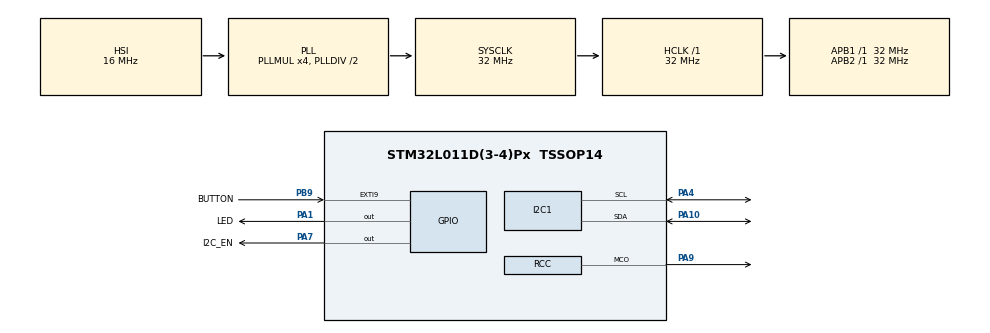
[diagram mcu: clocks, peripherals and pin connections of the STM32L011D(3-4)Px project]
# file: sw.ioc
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I2C1.I2C_Fall_Time=0
I2C1.I2C_Rise_Time=0
I2C1.Timing=0x00707CBB
Mcu.Family=STM32L0
Mcu.Name=STM32L011D(3-4)Px
Mcu.Package=TSSOP14
NVIC.EXTI4_15_IRQn=true\:0\:0\:false\:true\:true\:1\:true\:true
PA1.GPIO_Label=LED
PA1.Signal=GPIO_Output
PA10.Mode=I2C
PA10.Signal=I2C1_SDA
PA13.Mode=Serial_Wire
PA13.Signal=SYS_SWDIO
PA14.Mode=Serial_Wire
PA14.Signal=SYS_SWCLK
PA4.Mode=I2C
PA4.Signal=I2C1_SCL
PA7.GPIO_Label=I2C_EN
PA7.GPIO_PuPd=GPIO_PULLDOWN
PA7.Signal=GPIO_Output
PA9.Mode=Clock-out
PA9.Signal=RCC_MCO
PB9-BOOT0.GPIO_Label=BUTTON
PB9-BOOT0.Signal=GPXTI9
ProjectManager.HeapSize=0x200
ProjectManager.StackSize=0x400
ProjectManager.TargetToolchain=SW4STM32
RCC.AHBFreq_Value=32000000
RCC.APB1Freq_Value=32000000
RCC.APB1TimFreq_Value=32000000
RCC.APB2Freq_Value=32000000
RCC.APB2TimFreq_Value=32000000
RCC.HCLKFreq_Value=32000000
RCC.HSE_VALUE=8000000
RCC.HSI16_VALUE=16000000
RCC.HSI_VALUE=16000000
RCC.LSE_VALUE=32768
RCC.MSI_VALUE=2097000
RCC.PLLMUL=RCC_PLLMUL_4
RCC.SYSCLKFreq_VALUE=32000000
RCC.SYSCLKSource=RCC_SYSCLKSOURCE_PLLCLK
RCC.VCOOutputFreq_Value=64000000
board=custom

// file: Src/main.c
/* USER CODE BEGIN Header */
/**
  ******************************************************************************
  * @file           : main.c
  * @brief          : Main program body
  ******************************************************************************
  * @attention
  *
  * <h2><center>&copy; Copyright (c) 2020 STMicroelectronics.
  * All rights reserved.</center></h2>
  *
  * This software component is licensed by ST under BSD 3-Clause license,
  * the "License"; You may not use this file except in compliance with the
  * License. You may obtain a copy of the License at:
  *                        opensource.org/licenses/BSD-3-Clause
  *
  ******************************************************************************
  */
/* USER CODE END Header */
#include "main.h"

/* USER CODE BEGIN PD */
#define address 0b01111000

#define R 0
#define G 1
#define B 2

/* USER CODE END PD */

I2C_HandleTypeDef hi2c1;

void SystemClock_Config(void);
static void MX_GPIO_Init(void);
static void MX_I2C1_Init(void);
static void MX_NVIC_Init(void);
/* USER CODE BEGIN PFP */
void WRITE_I2C(uint8_t reg, uint8_t data);
void UPDATE_REGISTER(void);
void Init_FL3236A(void);
void LED(uint8_t LED, uint8_t color, uint8_t value);
void HAL_GPIO_EXTI_Callback(uint16_t GPIO_Pin);
void LED_MODE(uint8_t mode);
/* USER CODE END PFP */

/* USER CODE BEGIN 0 */

const uint8_t PWM_REG[12][3] = {{0x1,0x2,0x3},
						  {0x4,0x5,0x6},
						  {0x7,0x8,0x9},
						  {0xA,0xB,0xC},
						  {0xD,0xE,0xF},
						  {0x10,0x11,0x12},
						  {0x22,0x23,0x24},
						  {0x1F,0x20,0x21},
						  {0x1C,0x1D,0x1E},
						  {0x19,0x1A,0x1B},
						  {0x16,0x17,0x18},
						  {0x13,0x14,0x15}};

const uint8_t G_CONTROL_REG = 0x4A;
const uint8_t PWM_UPDATE_REG = 0x25;
const uint8_t SHUTDOWN_REG = 0x00;
const uint8_t RESET_REG = 0x4F;

volatile uint8_t state = 1;
/*const uint8_t SIN[180] = {0,1,2,4,5,7,8,10,11,13,14,15,16,18,19,20,21,22,23,24,25,26,27,27,28,28,28,29,29,29,29,29,29,28,28,28,27,27,26,25,24,23,22,21,20,19,18,16,15,14,13,11,10,8,7,5,4,2,1,0,
						  0,0,0,0,0,0,0,0,0,0,0,0,0,0,0,0,0,0,0,0,0,0,0,0,0,0,0,0,0,0,0,0,0,0,0,0,0,0,0,0,0,0,0,0,0,0,0,0,0,0,0,0,0,0,0,0,0,0,0,0,
						  0,0,0,0,0,0,0,0,0,0,0,0,0,0,0,0,0,0,0,0,0,0,0,0,0,0,0,0,0,0,0,0,0,0,0,0,0,0,0,0,0,0,0,0,0,0,0,0,0,0,0,0,0,0,0,0,0,0,0,0};
*/
const unsigned char SIN2[64] = { 0,0,0,1,2,4,5,7,8,10,11,13,14,15,16,18,19,20,21,22,23,24,25,26,27,27,28,28,28,29,29,29,29,29,29,28,28,28,27,27,26,25,24,23,22,21,20,19,18,16,15,14,13,11,10,8,7,5,4,2,1,0,0,0};
/* USER CODE END 0 */

int main(void)
{

  /* MCU Configuration--------------------------------------------------------*/

  /* Reset of all peripherals, Initializes the Flash interface and the Systick. */
  HAL_Init();

  /* Configure the system clock */
  SystemClock_Config();

  /* Initialize all configured peripherals */
  MX_GPIO_Init();
  MX_I2C1_Init();

  /* Initialize interrupts */
  MX_NVIC_Init();
  /* USER CODE BEGIN 2 */
  HAL_GPIO_WritePin(I2C_EN_GPIO_Port,I2C_EN_Pin, GPIO_PIN_SET);

  if(HAL_I2C_IsDeviceReady(&hi2c1, address, 2, 10) == HAL_OK)
  {
	HAL_GPIO_WritePin(LED_GPIO_Port,LED_Pin,GPIO_PIN_SET);
	HAL_Delay(200);
	HAL_GPIO_WritePin(LED_GPIO_Port,LED_Pin,GPIO_PIN_RESET);
  }
  else
  {
	HAL_GPIO_WritePin(LED_GPIO_Port,LED_Pin,GPIO_PIN_SET);
	HAL_Delay(200);
	HAL_GPIO_WritePin(LED_GPIO_Port,LED_Pin,GPIO_PIN_RESET);
	HAL_Delay(200);
	HAL_GPIO_WritePin(LED_GPIO_Port,LED_Pin,GPIO_PIN_SET);
	HAL_Delay(200);
	HAL_GPIO_WritePin(LED_GPIO_Port,LED_Pin,GPIO_PIN_RESET);
  }

  uint8_t counter = 0;
  uint8_t oldstate = 0;
 /* WRITE_I2C(PWM_REG[7][0],64); //LED8 BLAU, PWM=64
  WRITE_I2C(CONTROL_REG[7][0], 0b111); //LED8 BLAU, IMAX/4 & LED ON

  UPDATE_REGISTER();*/

  Init_FL3236A();

/*
    uint8_t reset[2] = {0x4F, 0x00};
	HAL_I2C_Master_Transmit(&hi2c1, address, reset, 2, 10);

  	uint8_t newData[2] = {0x01, 64};
  	HAL_I2C_Master_Transmit(&hi2c1, address, newData, 2, 10);

  	uint8_t newData2[2] = {0x26, 0x07};
  	HAL_I2C_Master_Transmit(&hi2c1, address, newData2, 2, 10);

  	uint8_t newData3[3] = {0x25, 0x00};
  	HAL_I2C_Master_Transmit(&hi2c1, address, newData3, 2, 10);
*/

  /* USER CODE END 2 */

  /* Infinite loop */
  /* USER CODE BEGIN WHILE */
  while (1)
  {
	 if(state != oldstate)
	 {
		 for(counter = 1; counter != 13; counter++)
		 {
			 LED(counter,R,0);
			 LED(counter,G,0);
			 LED(counter,B,0);
		 }
		 oldstate = state;
	 }
	 LED_MODE(state);
	 HAL_Delay(100);
	  /*if(HAL_GPIO_ReadPin(BUTTON_GPIO_Port,BUTTON_Pin))
	  {
		  HAL_GPIO_WritePin(LED_GPIO_Port,LED_Pin,GPIO_PIN_SET);
	  }
	  else
	  {
		 // HAL_GPIO_WritePin(LED_GPIO_Port,LED_Pin,GPIO_PIN_RESET);
	  }*/
    /* USER CODE END WHILE */

  }
}

void SystemClock_Config(void)
{
  RCC_OscInitTypeDef RCC_OscInitStruct = {0};
  RCC_ClkInitTypeDef RCC_ClkInitStruct = {0};
  RCC_PeriphCLKInitTypeDef PeriphClkInit = {0};

  /** Configure the main internal regulator output voltage
  */
  __HAL_PWR_VOLTAGESCALING_CONFIG(PWR_REGULATOR_VOLTAGE_SCALE1);
  /** Initializes the RCC Oscillators according to the specified parameters
  * in the RCC_OscInitTypeDef structure.
  */
  RCC_OscInitStruct.OscillatorType = RCC_OSCILLATORTYPE_HSI;
  RCC_OscInitStruct.HSIState = RCC_HSI_ON;
  RCC_OscInitStruct.HSICalibrationValue = RCC_HSICALIBRATION_DEFAULT;
  RCC_OscInitStruct.PLL.PLLState = RCC_PLL_ON;
  RCC_OscInitStruct.PLL.PLLSource = RCC_PLLSOURCE_HSI;
  RCC_OscInitStruct.PLL.PLLMUL = RCC_PLLMUL_4;
  RCC_OscInitStruct.PLL.PLLDIV = RCC_PLLDIV_2;
  if (HAL_RCC_OscConfig(&RCC_OscInitStruct) != HAL_OK)
  {
    Error_Handler();
  }
  /** Initializes the CPU, AHB and APB buses clocks
  */
  RCC_ClkInitStruct.ClockType = RCC_CLOCKTYPE_HCLK|RCC_CLOCKTYPE_SYSCLK
                              |RCC_CLOCKTYPE_PCLK1|RCC_CLOCKTYPE_PCLK2;
  RCC_ClkInitStruct.SYSCLKSource = RCC_SYSCLKSOURCE_PLLCLK;
  RCC_ClkInitStruct.AHBCLKDivider = RCC_SYSCLK_DIV1;
  RCC_ClkInitStruct.APB1CLKDivider = RCC_HCLK_DIV1;
  RCC_ClkInitStruct.APB2CLKDivider = RCC_HCLK_DIV1;

  if (HAL_RCC_ClockConfig(&RCC_ClkInitStruct, FLASH_LATENCY_1) != HAL_OK)
  {
    Error_Handler();
  }
  PeriphClkInit.PeriphClockSelection = RCC_PERIPHCLK_I2C1;
  PeriphClkInit.I2c1ClockSelection = RCC_I2C1CLKSOURCE_PCLK1;
  if (HAL_RCCEx_PeriphCLKConfig(&PeriphClkInit) != HAL_OK)
  {
    Error_Handler();
  }
  HAL_RCC_MCOConfig(RCC_MCO2, RCC_MCO1SOURCE_SYSCLK, RCC_MCODIV_1);
}

/**
  * @brief NVIC Configuration.
  * @retval None
  */
static void MX_NVIC_Init(void)
{
  /* EXTI4_15_IRQn interrupt configuration */
  HAL_NVIC_SetPriority(EXTI4_15_IRQn, 0, 0);
  HAL_NVIC_EnableIRQ(EXTI4_15_IRQn);
}

static void MX_I2C1_Init(void)
{

  hi2c1.Instance = I2C1;
  hi2c1.Init.Timing = 0x00707CBB;
  hi2c1.Init.OwnAddress1 = 0;
  hi2c1.Init.AddressingMode = I2C_ADDRESSINGMODE_7BIT;
  hi2c1.Init.DualAddressMode = I2C_DUALADDRESS_DISABLE;
  hi2c1.Init.OwnAddress2 = 0;
  hi2c1.Init.OwnAddress2Masks = I2C_OA2_NOMASK;
  hi2c1.Init.GeneralCallMode = I2C_GENERALCALL_DISABLE;
  hi2c1.Init.NoStretchMode = I2C_NOSTRETCH_DISABLE;
  if (HAL_I2C_Init(&hi2c1) != HAL_OK)
  {
    Error_Handler();
  }
  /** Configure Analogue filter
  */
  if (HAL_I2CEx_ConfigAnalogFilter(&hi2c1, I2C_ANALOGFILTER_ENABLE) != HAL_OK)
  {
    Error_Handler();
  }
  /** Configure Digital filter
  */
  if (HAL_I2CEx_ConfigDigitalFilter(&hi2c1, 0) != HAL_OK)
  {
    Error_Handler();
  }

}

static void MX_GPIO_Init(void)
{
  GPIO_InitTypeDef GPIO_InitStruct = {0};

  /* GPIO Ports Clock Enable */
  __HAL_RCC_GPIOB_CLK_ENABLE();
  __HAL_RCC_GPIOA_CLK_ENABLE();

  /*Configure GPIO pin Output Level */
  HAL_GPIO_WritePin(GPIOA, LED_Pin|I2C_EN_Pin, GPIO_PIN_RESET);

  /*Configure GPIO pin : BUTTON_Pin */
  GPIO_InitStruct.Pin = BUTTON_Pin;
  GPIO_InitStruct.Mode = GPIO_MODE_IT_RISING;
  GPIO_InitStruct.Pull = GPIO_NOPULL;
  HAL_GPIO_Init(BUTTON_GPIO_Port, &GPIO_InitStruct);

  /*Configure GPIO pin : LED_Pin */
  GPIO_InitStruct.Pin = LED_Pin;
  GPIO_InitStruct.Mode = GPIO_MODE_OUTPUT_PP;
  GPIO_InitStruct.Pull = GPIO_NOPULL;
  GPIO_InitStruct.Speed = GPIO_SPEED_FREQ_LOW;
  HAL_GPIO_Init(LED_GPIO_Port, &GPIO_InitStruct);

  /*Configure GPIO pin : I2C_EN_Pin */
  GPIO_InitStruct.Pin = I2C_EN_Pin;
  GPIO_InitStruct.Mode = GPIO_MODE_OUTPUT_PP;
  GPIO_InitStruct.Pull = GPIO_PULLDOWN;
  GPIO_InitStruct.Speed = GPIO_SPEED_FREQ_LOW;
  HAL_GPIO_Init(I2C_EN_GPIO_Port, &GPIO_InitStruct);

  /*Configure GPIO pin : PA9 */
  GPIO_InitStruct.Pin = GPIO_PIN_9;
  GPIO_InitStruct.Mode = GPIO_MODE_AF_PP;
  GPIO_InitStruct.Pull = GPIO_NOPULL;
  GPIO_InitStruct.Speed = GPIO_SPEED_FREQ_LOW;
  GPIO_InitStruct.Alternate = GPIO_AF0_MCO;
  HAL_GPIO_Init(GPIOA, &GPIO_InitStruct);

}

/* USER CODE BEGIN 4 */

void LED_MODE(uint8_t mode)
{
	static uint8_t i[12] = {15,40,50,10,25,5,30,0,35,55,20,45};

	uint8_t counter = 0;
	//static uint8_t LEDvalues = 0;

	switch(mode)
	{
		case 1:

			LED(2,R,SIN2[i[2-1]]);
			LED(4,R,SIN2[i[4-1]]);
			LED(7,R,SIN2[i[7-1]]);
			LED(11,R,SIN2[i[11-1]]);

			LED(5,G,SIN2[i[5-1]]);
			LED(1,G,SIN2[i[1-1]]);
			LED(9,G,SIN2[i[9-1]]);
			LED(12,G,SIN2[i[12-1]]);

			LED(8,B,SIN2[i[8-1]]);
			LED(3,B,SIN2[i[3-1]]);
			LED(6,B,SIN2[i[6-1]]);
			LED(10,B,SIN2[i[10-1]]);
			break;
		case 2:
			for(counter = 1; counter != 13; counter++)
			{
				LED(counter,R,20);
				LED(counter,G,16);
			}
			break;
		case 3:
			for(counter = 1; counter != 13; counter++)
			{
				LED(counter,R,30);
			}
			break;
		case 4:
			for(counter = 1; counter != 13; counter++)
			{
				LED(counter,G,30);
			}
			break;
		case 5:
			for(counter = 1; counter != 13; counter++)
			{
				LED(counter,B,30);
			}
			break;
			//LED(1,R,);
	}

	for(counter = 0; counter != 12; counter++)
	{
		if(i[counter]>=63)
		{
			i[counter] = 0;
		}
		else
		{
			i[counter]++;
		}
	}

	UPDATE_REGISTER();
}

void HAL_GPIO_EXTI_Callback(uint16_t GPIO_Pin)
{
	if(GPIO_Pin == BUTTON_Pin)
	{
		volatile int i = 0;
		for(i=0; i != 50000; i++);
		//HAL_GPIO_TogglePin(LED_GPIO_Port,LED_Pin);
		if(state >= 5)
		{
			state = 1;
		}
		else
		{
			state++;
		}
	}
}

void UPDATE_REGISTER(void)
{
	WRITE_I2C(PWM_UPDATE_REG,0x00);
}

void WRITE_I2C(uint8_t reg, uint8_t data)
{
	uint8_t newData[2] = {reg, data};

	HAL_I2C_Master_Transmit(&hi2c1, address, newData, 2, 10);
}

void LED(uint8_t LED, uint8_t color, uint8_t value)
{
	if(LED == 0) LED++;
	if(color > 2) color = 2;
	if(value > 30) value = 30;

	WRITE_I2C(PWM_REG[LED-1][color], value);
}

void Init_FL3236A(void)
{
	uint8_t i = 0;
	uint8_t data[2];

	data[0] = 0x4F;
	data[1] = 0x00;
	HAL_I2C_Master_Transmit(&hi2c1, address, data, 2, 10);
	//IS_IIC_WriteByte(Addr_VCC,0x25,0x00);//update PWM & congtrol registers

	HAL_Delay(500);

	data[0] = 0x4A;
	data[1] = 0x00;
	HAL_I2C_Master_Transmit(&hi2c1, address, data, 2, 10);
	//IS_IIC_WriteByte(Addr_VCC,0x25,0x00);//update PWM & congtrol registers

	data[0] = 0x00;
	data[1] = 0x01;
	HAL_I2C_Master_Transmit(&hi2c1, address, data, 2, 10);
	//IS_IIC_WriteByte(Addr_VCC,0x00,0x01);//normal operation

	data[1] = 0x7;
	for(i=0x26;i<=0x49;i++)
	{
		data[0] = i;
		HAL_I2C_Master_Transmit(&hi2c1, address, data, 2, 10);
		//IS_IIC_WriteByte(Addr_VCC,i,0xff);//turn on all LED
	}

	data[1] = 0x00;
	for(i=0x01;i<=0x24;i++)
	{
		data[0] = i;
		HAL_I2C_Master_Transmit(&hi2c1, address, data, 2, 10);
		//IS_IIC_WriteByte(Addr_VCC,i,0x00);//write all PWM set 0x00
	}

	data[0] = 0x25;
	data[1] = 0x00;
	HAL_I2C_Master_Transmit(&hi2c1, address, data, 2, 10);
	//IS_IIC_WriteByte(Addr_VCC,0x25,0x00);//update PWM & congtrol registers

	/*data[0] = 0x4B;
	data[1] = 0x01;
	HAL_I2C_Master_Transmit(&hi2c1, address, data, 2, 10);
	//IS_IIC_WriteByte(Addr_VCC,0x4B,0x01);//frequency setting 22KHz*/

	HAL_Delay(100);

	/*data[1] = 30;
	for(i=0x01;i<=0x24;i++)
	{
		data[1] = 90;
		data[0] = 0x19;
		HAL_I2C_Master_Transmit(&hi2c1, address, data, 2, 10);
		//IS_IIC_WriteByte(Addr_VCC,i,0x00);//write all PWM set 30

		data[0] = 0x25;
		data[1] = 0x00;
		HAL_I2C_Master_Transmit(&hi2c1, address, data, 2, 10);
		//IS_IIC_WriteByte(Addr_VCC,0x25,0x00);//update PWM & congtrol registers

		HAL_Delay(100);
	}*/

}
/* USER CODE END 4 */

void Error_Handler(void)
{
}

/************************ (C) COPYRIGHT STMicroelectronics *****END OF FILE****/
